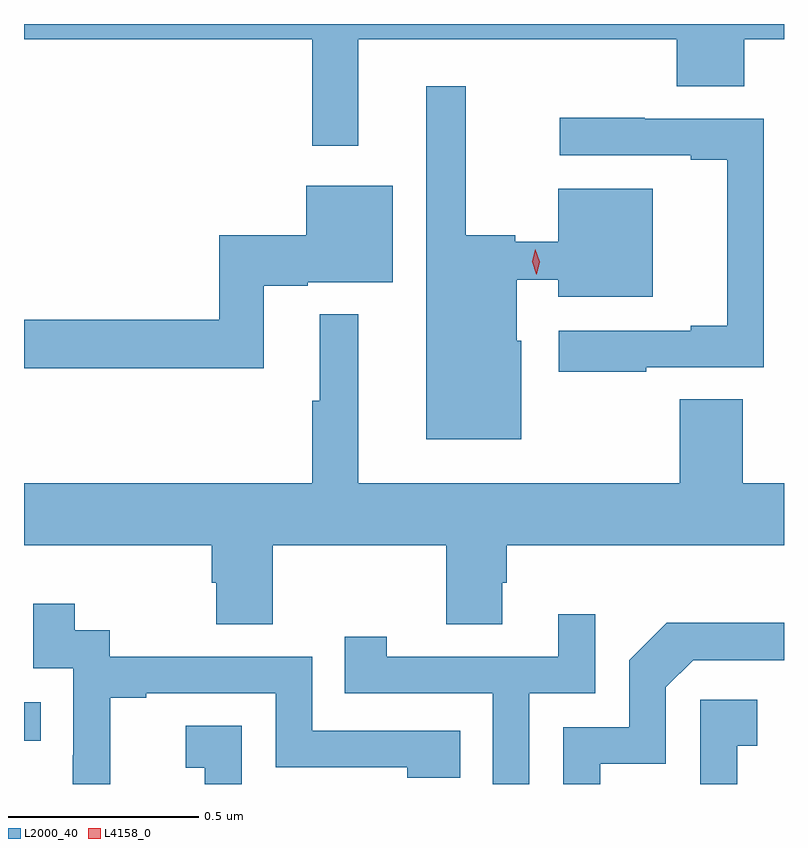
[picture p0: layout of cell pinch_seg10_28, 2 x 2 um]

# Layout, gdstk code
import gdstk
lib = gdstk.Library(unit=1e-6, precision=1e-09)
def R(c, l, rs):  # rectangles x0, y0, x1, y1
    for r in rs: c.add(gdstk.rectangle(r[:2], r[2:], *l))
def P(c, l, *ps):  # polygons
    for p in ps: c.add(gdstk.Polygon(p, *l))
L2000_40 = (2000, 40)
L4158_0 = (4158, 0)

pinch_seg10_28 = lib.new_cell('pinch_seg10_28')
R(pinch_seg10_28, L2000_40, [(940.287,1267.834,940.331,1267.935)])
P(pinch_seg10_28, L2000_40, [(941.167,1269.68),(942.005,1269.68),(942.005,1269.556),(942.182,1269.556),(942.182,1269.68),(942.287,1269.68),(942.287,1269.72),(940.287,1269.72),(940.287,1269.68),(941.046,1269.68),(941.046,1269.399),(941.167,1269.399)],
  [(941.596,1268.886),(941.584,1268.886),(941.584,1269.047),(941.693,1269.047),(941.693,1269.002),(941.941,1269.002),(941.941,1269.286),(941.693,1269.286),(941.693,1269.147),(941.58,1269.147),(941.58,1269.164),(941.449,1269.164),(941.449,1269.556),(941.345,1269.556),(941.345,1268.627),(941.596,1268.627)],
  [(941.924,1268.817),(942.234,1268.817),(942.234,1269.471),(941.921,1269.471),(941.921,1269.473),(941.697,1269.473),(941.697,1269.375),(942.041,1269.375),(942.041,1269.363),(942.137,1269.363),(942.137,1268.926),(942.041,1268.926),(942.041,1268.913),(941.694,1268.913),(941.694,1268.805),(941.924,1268.805)],
  [(940.918,1269.031),(941.034,1269.031),(941.034,1269.041),(941.257,1269.041),(941.257,1269.295),(941.03,1269.295),(941.03,1269.164),(940.801,1269.164),(940.801,1268.942),(940.287,1268.942),(940.287,1268.814),(940.918,1268.814)],
  [(940.941,1268.348),(941.398,1268.348),(941.398,1268.14),(941.545,1268.14),(941.545,1268.25),(941.558,1268.25),(941.558,1268.348),(942.287,1268.348),(942.287,1268.512),(942.179,1268.512),(942.179,1268.732),(942.013,1268.732),(942.013,1268.512),(941.167,1268.512),(941.167,1268.956),(941.065,1268.956),(941.065,1268.729),(941.046,1268.729),(941.046,1268.512),(940.287,1268.512),(940.287,1268.348),(940.781,1268.348),(940.781,1268.25),(940.793,1268.25),(940.793,1268.14),(940.941,1268.14)],
  [(940.514,1267.947),(940.609,1267.947),(940.609,1267.959),(940.95,1267.959),(940.95,1267.764),(941.295,1267.764),(941.295,1267.737),(941.435,1267.737),(941.435,1267.86),(941.046,1267.86),(941.046,1268.055),(940.512,1268.055),(940.512,1268.124),(940.42,1268.124),(940.42,1268.194),(940.311,1268.194),(940.311,1268.025),(940.416,1268.025),(940.416,1267.796),(940.415,1267.796),(940.415,1267.72),(940.514,1267.72)],
  [(941.616,1267.959),(941.79,1267.959),(941.79,1268.167),(941.693,1268.167),(941.693,1268.055),(941.242,1268.055),(941.242,1268.107),(941.131,1268.107),(941.131,1267.959),(941.52,1267.959),(941.52,1267.72),(941.616,1267.72)],
  [(941.803,1267.773),(941.976,1267.773),(941.976,1267.974),(942.048,1268.046),(942.287,1268.046),(942.287,1268.144),(941.978,1268.144),(941.88,1268.046),(941.88,1267.869),(941.706,1267.869),(941.706,1267.72),(941.803,1267.72)],
  [(942.164,1267.821),(942.217,1267.821),(942.217,1267.942),(942.066,1267.942),(942.066,1267.72),(942.164,1267.72)],
  [(940.86,1267.873),(940.713,1267.873),(940.713,1267.763),(940.762,1267.763),(940.762,1267.72),(940.86,1267.72)])
P(pinch_seg10_28, L4158_0, [(941.635,1269.062),(941.635,1269.062),(941.624,1269.094),(941.633,1269.127),(941.633,1269.127),(941.633,1269.127),(941.644,1269.095),(941.636,1269.062)])

lib.write_gds('pinch_seg10_28.gds')
